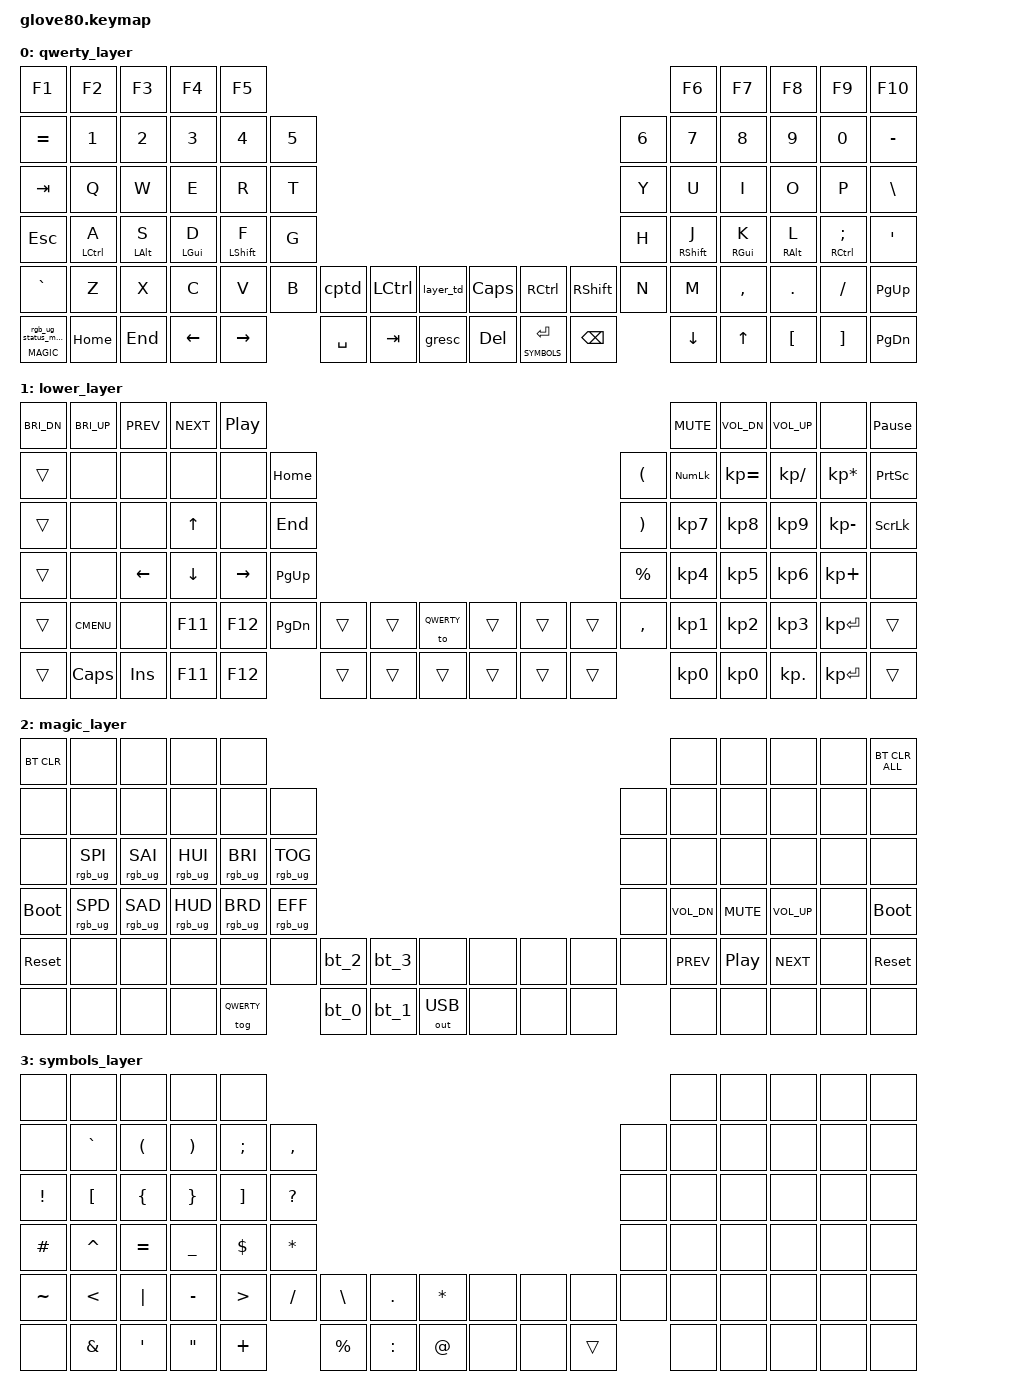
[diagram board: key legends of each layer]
/*
 * Copyright (c) 2020 The ZMK Contributors
 *
 * SPDX-License-Identifier: MIT
 */

#include <behaviors.dtsi>
#include <dt-bindings/zmk/keys.h>
#include <dt-bindings/zmk/bt.h>
#include <dt-bindings/zmk/ext_power.h>
#include <dt-bindings/zmk/outputs.h>
#include <dt-bindings/zmk/rgb.h>

#include "utils/key_labels/glove80.h"

#define HYPER LC(LS(LG(LALT)))

// layers
#define QWERTY 0
#define LOWER 1
#define MAGIC 2
#define SYMBOLS 3

// TODO: Move this to utils/common/behaviors.dtsi
&caps_word {
    continue-list = <UNDERSCORE MINUS BSPC DEL>;
};

/ {
    behaviors {
        // For the "layer" key, it'd nice to be able to use it as either a shift or a toggle.
        // Configure it as a tap dance, so the first tap (or hold) is a &mo and the second tap is a &to
        layer_td: tap_dance_0 {
            compatible = "zmk,behavior-tap-dance";
            #binding-cells = <0>;
            tapping-term-ms = <200>;
            bindings = <&mo LOWER>, <&to LOWER>;
        };

        magic: magic_hold_tap {
            compatible = "zmk,behavior-hold-tap";
            #binding-cells = <2>;
            flavor = "tap-preferred";
            tapping-term-ms = <200>;
            bindings = <&mo>, <&rgb_ug_status_macro>;
        };

        hml: home_row_mod_left {
            compatible = "zmk,behavior-hold-tap";
            #binding-cells = <2>;
            flavor = "balanced";
            require-prior-idle-ms = <150>;
            tapping-term-ms = <280>;
            quick-tap-ms = <175>;
            bindings = <&kp>, <&kp>;
            hold-trigger-key-positions = <KEYS_R THUMBS>;
            hold-trigger-on-release;
        };

        hmr: home_row_mod_right {
            compatible = "zmk,behavior-hold-tap";
            #binding-cells = <2>;
            flavor = "balanced";
            require-prior-idle-ms = <150>;
            tapping-term-ms = <280>;
            quick-tap-ms = <175>;
            bindings = <&kp>, <&kp>;
            hold-trigger-key-positions = <KEYS_L THUMBS>;
            hold-trigger-on-release;
        };

        cptd: copy_paste_tap_dance {
            compatible = "zmk,behavior-tap-dance";
            #binding-cells = <0>;
            tapping-term-ms = <200>;
            bindings = <&kp LG(C)>, <&kp LG(V)>;
        };
    };

    macros {
        rgb_ug_status_macro: rgb_ug_status_macro_0 {
            compatible = "zmk,behavior-macro";
            #binding-cells = <0>;
            bindings
                = <&rgb_ug RGB_STATUS>;
        };

        bt_0: bt_profile_macro_0 {
            compatible = "zmk,behavior-macro";
            #binding-cells = <0>;
            bindings
                = <&out OUT_BLE>,
                  <&bt BT_SEL 0>;
        };

        bt_1: bt_profile_macro_1 {
            compatible = "zmk,behavior-macro";
            #binding-cells = <0>;
            bindings
                = <&out OUT_BLE>,
                  <&bt BT_SEL 1>;
        };

        bt_2: bt_profile_macro_2 {
            compatible = "zmk,behavior-macro";
            #binding-cells = <0>;
            bindings
                = <&out OUT_BLE>,
                  <&bt BT_SEL 2>;
        };

        bt_3: bt_profile_macro_3 {
            compatible = "zmk,behavior-macro";
            #binding-cells = <0>;
            bindings
                = <&out OUT_BLE>,
                  <&bt BT_SEL 3>;
        };
    };

    combos {
        compatible = "zmk,combos";
        combo_caps_word {
            timeout-ms = <50>;
            key-positions = <L42 R42>;
            layers = <QWERTY>;
            bindings = <&caps_word>;
        };
    };

    keymap {
        compatible = "zmk,keymap";

        qwerty_layer {
            bindings = <
            &kp F1         &kp F2       &kp F3      &kp F4      &kp F5                                                                                        &kp F6        &kp F7      &kp F8      &kp F9          &kp F10
            &kp EQUAL      &kp N1       &kp N2      &kp N3      &kp N4        &kp N5                                                                   &kp N6 &kp N7        &kp N8      &kp N9      &kp N0          &kp MINUS
            &kp TAB        &kp Q        &kp W       &kp E       &kp R         &kp T                                                                    &kp Y  &kp U         &kp I       &kp O       &kp P           &kp BSLH
            &kp ESC        &hml LCTRL A &hml LALT S &hml LGUI D &hml LSHIFT F &kp G                                                                    &kp H  &hmr RSHIFT J &hmr RGUI K &hmr RALT L &hmr RCTRL SEMI &kp SQT
            &kp GRAVE      &kp Z        &kp X       &kp C       &kp V         &kp B &cptd     &kp LCTRL &layer_td  &kp CAPS &kp RCTRL       &kp RSHFT  &kp N  &kp M         &kp COMMA   &kp DOT     &kp FSLH        &kp PG_UP
            &magic MAGIC 0 &kp HOME     &kp END     &kp LEFT    &kp RIGHT           &kp SPACE &kp TAB   &gresc     &kp DEL  &lt SYMBOLS RET &kp BSPC          &kp DOWN      &kp UP      &kp LBKT    &kp RBKT        &kp PG_DN
            >;
        };

        lower_layer {
            bindings = <
            &kp C_BRI_DN      &kp C_BRI_UP        &kp C_PREV      &kp C_NEXT      &kp C_PP                                                                                                           &kp C_MUTE   &kp C_VOL_DN &kp C_VOL_UP  &none           &kp PAUSE_BREAK
            &trans            &none               &none           &none           &none           &kp HOME                                                                              &kp LPAR     &kp KP_NUM   &kp KP_EQUAL &kp KP_DIVIDE &kp KP_MULTIPLY &kp PSCRN
            &trans            &none               &none           &kp UP          &none           &kp END                                                                               &kp RPAR     &kp KP_N7    &kp KP_N8    &kp KP_N9     &kp KP_MINUS    &kp SLCK
            &trans            &none               &kp LEFT        &kp DOWN        &kp RIGHT       &kp PG_UP                                                                             &kp PRCNT    &kp KP_N4    &kp KP_N5    &kp KP_N6     &kp KP_PLUS     &none
            &trans            &kp K_CMENU         &none           &kp F11         &kp F12         &kp PG_DN       &trans      &trans      &to QWERTY  &trans      &trans      &trans    &kp COMMA    &kp KP_N1    &kp KP_N2    &kp KP_N3     &kp KP_ENTER    &trans
            &trans            &kp CAPS            &kp INS         &kp F11         &kp F12                         &trans      &trans      &trans      &trans      &trans      &trans                 &kp KP_N0    &kp KP_N0    &kp KP_DOT    &kp KP_ENTER    &trans
            >;
        };

        magic_layer {
            bindings = <
            &bt BT_CLR        &none               &none           &none           &none                                                                                                               &none        &none        &none        &none      &bt BT_CLR_ALL
            &none             &none               &none           &none           &none               &none                                                                                &none      &none        &none        &none        &none      &none
            &none             &rgb_ug RGB_SPI     &rgb_ug RGB_SAI &rgb_ug RGB_HUI &rgb_ug     RGB_BRI &rgb_ug RGB_TOG                                                                      &none      &none        &none        &none        &none      &none
            &bootloader       &rgb_ug RGB_SPD     &rgb_ug RGB_SAD &rgb_ug RGB_HUD &rgb_ug     RGB_BRD &rgb_ug RGB_EFF                                                                      &none      &kp C_VOL_DN &kp C_MUTE   &kp C_VOL_UP &none      &bootloader
            &sys_reset        &none               &none           &none           &none               &none           &bt_2     &bt_3     &none            &none     &none     &none       &none      &kp C_PREV   &kp C_PP     &kp C_NEXT   &none      &sys_reset
            &none             &none               &none           &none           &tog QWERTY                         &bt_0     &bt_1     &out OUT_USB     &none     &none     &none                  &none        &none        &none        &none      &none
            >;
        };

        symbols_layer {
            bindings = <
            &none     &none     &none     &none     &none                                                                     &none &none &none &none &none
            &none     &kp GRAVE &kp LPAR  &kp RPAR  &kp SEMI &kp COMMA                                                  &none &none &none &none &none &none
            &kp EXCL  &kp LBKT  &kp LBRC  &kp RBRC  &kp RBKT &kp QMARK                                                  &none &none &none &none &none &none
            &kp HASH  &kp CARET &kp EQUAL &kp UNDER &kp DLLR &kp STAR                                                   &none &none &none &none &none &none
            &kp TILDE &kp LT    &kp PIPE  &kp MINUS &kp GT   &kp FSLH  &kp BSLH  &kp DOT   &kp STAR  &none &none &none  &none &none &none &none &none &none
            &none     &kp AMPS  &kp SQT   &kp DQT   &kp PLUS           &kp PRCNT &kp COLON &kp AT    &none &none &trans       &none &none &none &none &none
            >;
        };
    };
};
